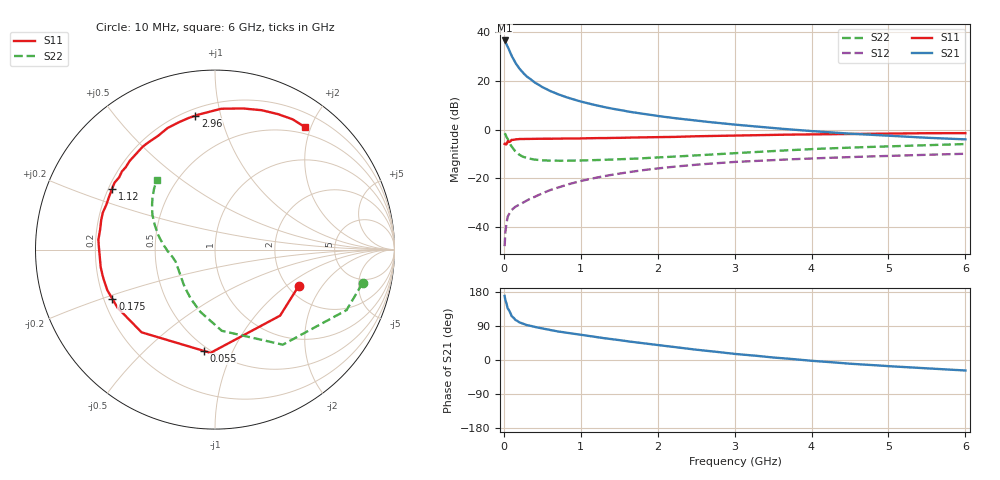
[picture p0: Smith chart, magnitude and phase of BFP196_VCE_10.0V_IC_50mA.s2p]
! Infineon Technologies  Discrete & RF Semiconductors
! BFP196
! VCE = 10.0V,  IC =  50mA
! Common Emitter S-Parameters:  Jan 2016
# GHz  S  MA  R  50
!  f  S11  S21  S12  S22
! GHz  MAG  ANG  MAG  ANG  MAG  ANG  MAG  ANG
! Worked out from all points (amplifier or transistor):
!   210 points, 10 MHz to 6 GHz, reference 50 ohm
!   highest |S21| = 36.7 dB at 10 MHz (marker M1)
!   |S21| within 3 dB of that: start of sweep to 56.43 MHz
!   unconditionally stable (mu >= 1): 537.9 MHz to 4.805 GHz
!   at 185 MHz: K = 0.65, MSG = 28.6 dB, |S12| = -31.2 dB
!   at 1.52 GHz: K = 1.08, MAG = 11.2 dB, |S12| = -18.0 dB
!   at 6 GHz: K = 0.98, MSG = 3.0 dB, |S12| = -9.9 dB
!   S11 on the Smith chart (normalised r, x): 10 MHz: 2.26, -1.25; 55 MHz: 0.47, -0.78; 175 MHz: 0.23, -0.22; 1.12 GHz: 0.21, +0.26; 2.96 GHz: 0.24, +0.84; 6 GHz: 0.40, +1.91
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0.01  0.5081 -23.7  68.47 169.1  0.004 72.4  0.8428 -12.8
0.02  0.5167 -45.4  64.34 158.6  0.0078 69.6  0.8068 -24.7
0.05  0.576 -92.5  50.99 136.3  0.0162 54.4  0.6508 -54.5
0.055  0.5676 -96.4  49.03 135.0  0.0168 53.3  0.6252 -56.6
0.1  0.6163 -131.6  33.28 116.1  0.0221 45.8  0.4541 -85.2
0.15  0.6323 -149.2  23.67 105.8  0.0259 45.7  0.3565 -103.2
0.175  0.6342 -154.3  20.95 103.1  0.0272 46.7  0.3296 -109.0
0.2  0.6412 -159.4  18.29 99.5  0.0285 47.6  0.3066 -115.8
0.26  0.6427 -167.1  14.23 94.7  0.0323 50.3  0.2734 -126.7
0.3  0.6443 -171.3  12.34 92.1  0.0351 51.5  0.261 -132.0
0.4  0.6457 -179.4  9.379 87.2  0.0414 55.4  0.2424 -142.3
0.5  0.652 175.2  7.508 83.2  0.0488 57.5  0.2337 -149.1
0.6  0.6497 170.1  6.27 79.2  0.0569 58.7  0.2305 -153.7
0.8  0.6582 161.7  4.722 72.4  0.072 59.1  0.2296 -160.1
1.02  0.6604 152.8  3.722 65.8  0.0891 58.3  0.2322 -165.0
1.12  0.6663 149.4  3.397 62.9  0.0965 57.5  0.2345 -166.7
2.02  0.7031 122.0  1.896 39.1  0.1605 46.4  0.2687 -179.9
2.96  0.7547 98.3  1.29 17.1  0.2143 33.0  0.3253 165.8
3.1  0.7608 95.4  1.23 14.4  0.2203 31.0  0.3345 163.6
4.1  0.8041 77.3  0.912 -3.5  0.2589 18.5  0.4042 149.8
5.1  0.8341 63.9  0.736 -17.3  0.2914 7.7  0.4583 139.1
6  0.8468 53.6  0.631 -27.7  0.3189 -2.0  0.5052 130.0
